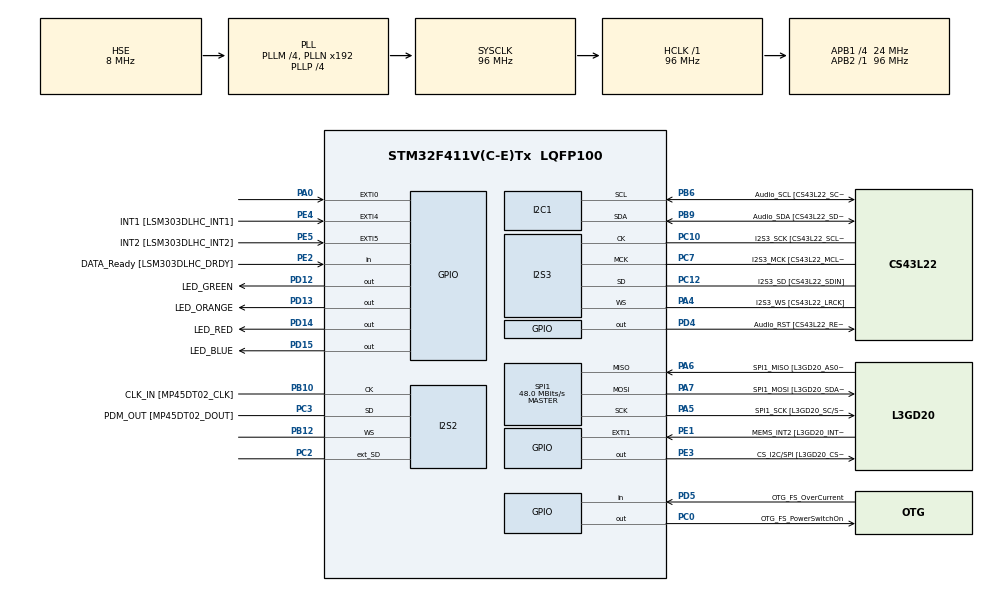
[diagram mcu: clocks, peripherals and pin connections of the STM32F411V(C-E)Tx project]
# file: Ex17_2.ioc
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FREERTOS.BinarySemaphores01=SemaSync1,Dynamic,NULL;SemaSync2,Dynamic,NULL
FREERTOS.INCLUDE_vTaskDelayUntil=1
FREERTOS.Mutexes01=CriticalResourceMutex,Dynamic,NULL
FREERTOS.Tasks01=FlashGreenLed,0,128,StartFlashGreenLedTask,Default,NULL,Dynamic,NULL,NULL;FlashRedLed,0,128,StartFlashRedLedTask,Default,NULL,Dynamic,NULL,NULL;FlashBlueLed,0,128,StartFlashBlueLedTask,Default,NULL,Dynamic,NULL,NULL
FREERTOS.configUSE_NEWLIB_REENTRANT=1
I2S2.AudioFreq=I2S_AUDIOFREQ_96K
I2S2.ErrorAudioFreq=0.15 %
I2S2.FullDuplexMode=I2S_FULLDUPLEXMODE_ENABLE
I2S2.Instance=SPI$Index
I2S2.RealAudioFreq=96.153 KHz
I2S2.VirtualMode=I2S_MODE_MASTER
I2S3.AudioFreq=I2S_AUDIOFREQ_96K
I2S3.ErrorAudioFreq=-6.99 %
I2S3.FullDuplexMode=I2S_FULLDUPLEXMODE_DISABLE
I2S3.Instance=SPI$Index
I2S3.RealAudioFreq=89.285 KHz
I2S3.VirtualMode=I2S_MODE_MASTER
Mcu.Family=STM32F4
Mcu.Name=STM32F411V(C-E)Tx
Mcu.Package=LQFP100
NVIC.PriorityGroup=NVIC_PRIORITYGROUP_4
NVIC.TIM1_UP_TIM10_IRQn=true\:15\:0\:false\:false\:true\:false\:false\:true\:true
NVIC.TimeBase=TIM1_UP_TIM10_IRQn
NVIC.TimeBaseIP=TIM1
PA0-WKUP.GPIO_ModeDefaultEXTI=GPIO_MODE_EVT_RISING
PA0-WKUP.Signal=GPXTI0
PA10.GPIO_Label=OTG_FS_ID
PA10.Signal=USB_OTG_FS_ID
PA11.GPIO_Label=OTG_FS_DM
PA11.Signal=USB_OTG_FS_DM
PA12.GPIO_Label=OTG_FS_DP
PA12.Signal=USB_OTG_FS_DP
PA13.GPIO_Label=SWDIO
PA13.Mode=Serial_Wire
PA13.Signal=SYS_JTMS-SWDIO
PA14.GPIO_Label=SWCLK
PA14.Mode=Serial_Wire
PA14.Signal=SYS_JTCK-SWCLK
PA4.GPIO_Label=I2S3_WS [CS43L22_LRCK]
PA4.GPIO_Mode=GPIO_MODE_AF_PP
PA4.GPIO_PuPd=GPIO_NOPULL
PA4.GPIO_Speed=GPIO_SPEED_FREQ_LOW
PA4.Mode=Half_Duplex_Master
PA4.Signal=I2S3_WS
PA5.GPIO_Label=SPI1_SCK [L3GD20_SC/SPC]
PA5.Mode=Full_Duplex_Master
PA5.Signal=SPI1_SCK
PA6.GPIO_Label=SPI1_MISO [L3GD20_AS0/SDO]
PA6.Mode=Full_Duplex_Master
PA6.Signal=SPI1_MISO
PA7.GPIO_Label=SPI1_MOSI [L3GD20_SDA/SDI/SDO]
PA7.Mode=Full_Duplex_Master
PA7.Signal=SPI1_MOSI
PA9.GPIO_Label=VBUS_FS
PA9.Signal=USB_OTG_FS_VBUS
PB10.GPIO_Label=CLK_IN [MP45DT02_CLK]
PB10.Mode=Full_Duplex_Master
PB10.Signal=I2S2_CK
PB12.Mode=Full_Duplex_Master
PB12.Signal=I2S2_WS
PB3.GPIO_Label=SWO
PB3.Signal=SYS_JTDO-SWO
PB6.GPIO_Label=Audio_SCL [CS43L22_SCL]
PB6.GPIO_Mode=GPIO_MODE_AF_OD
PB6.GPIO_Pu=GPIO_PULLUP
PB6.GPIO_PuPd=GPIO_NOPULL
PB6.GPIO_Speed=GPIO_SPEED_FREQ_LOW
PB6.Mode=I2C
PB6.Signal=I2C1_SCL
PB9.GPIO_Label=Audio_SDA [CS43L22_SDA]
PB9.GPIO_Mode=GPIO_MODE_AF_OD
PB9.GPIO_Pu=GPIO_PULLUP
PB9.GPIO_PuPd=GPIO_NOPULL
PB9.GPIO_Speed=GPIO_SPEED_FREQ_LOW
PB9.Mode=I2C
PB9.Signal=I2C1_SDA
PC0.GPIO_Label=OTG_FS_PowerSwitchOn
PC0.PinState=GPIO_PIN_SET
PC0.Signal=GPIO_Output
PC10.GPIO_Label=I2S3_SCK [CS43L22_SCLK]
PC10.GPIO_Mode=GPIO_MODE_AF_PP
PC10.GPIO_PuPd=GPIO_NOPULL
PC10.GPIO_Speed=GPIO_SPEED_FREQ_LOW
PC10.Mode=Half_Duplex_Master
PC10.Signal=I2S3_CK
PC12.GPIO_Label=I2S3_SD [CS43L22_SDIN]
PC12.GPIO_Mode=GPIO_MODE_AF_PP
PC12.GPIO_PuPd=GPIO_NOPULL
PC12.GPIO_Speed=GPIO_SPEED_FREQ_LOW
PC12.Mode=Half_Duplex_Master
PC12.Signal=I2S3_SD
PC14-OSC32_IN.GPIO_Label=PC14-OSC32_IN
PC14-OSC32_IN.Mode=LSE-External-Oscillator
PC14-OSC32_IN.Signal=RCC_OSC32_IN
PC15-OSC32_OUT.GPIO_Label=PC15-OSC32_OUT
PC15-OSC32_OUT.Mode=LSE-External-Oscillator
PC15-OSC32_OUT.Signal=RCC_OSC32_OUT
PC2.Mode=Full_Duplex_Master
PC2.Signal=I2S2_ext_SD
PC3.GPIO_Label=PDM_OUT [MP45DT02_DOUT]
PC3.Mode=Full_Duplex_Master
PC3.Signal=I2S2_SD
PC7.GPIO_Label=I2S3_MCK [CS43L22_MCLK]
PC7.GPIO_Mode=GPIO_MODE_AF_PP
PC7.GPIO_PuPd=GPIO_NOPULL
PC7.GPIO_Speed=GPIO_SPEED_FREQ_LOW
PC7.Mode=Master_Clock_Activated
PC7.Signal=I2S3_MCK
PD12.GPIO_Label=LED_GREEN
PD12.GPIO_PuPd=GPIO_NOPULL
PD12.GPIO_Speed=GPIO_SPEED_FREQ_LOW
PD12.Signal=GPIO_Output
PD13.GPIO_Label=LED_ORANGE
PD13.GPIO_PuPd=GPIO_NOPULL
PD13.GPIO_Speed=GPIO_SPEED_FREQ_LOW
PD13.Signal=GPIO_Output
PD14.GPIO_Label=LED_RED
PD14.GPIO_PuPd=GPIO_NOPULL
PD14.GPIO_Speed=GPIO_SPEED_FREQ_LOW
PD14.Signal=GPIO_Output
PD15.GPIO_Label=LED_BLUE
PD15.GPIO_PuPd=GPIO_NOPULL
PD15.GPIO_Speed=GPIO_SPEED_FREQ_LOW
PD15.Signal=GPIO_Output
PD4.GPIO_Label=Audio_RST [CS43L22_RESET]
PD4.Signal=GPIO_Output
PD5.GPIO_Label=OTG_FS_OverCurrent
PD5.Signal=GPIO_Input
PE1.GPIO_Label=MEMS_INT2 [L3GD20_INT2]
PE1.GPIO_ModeDefaultEXTI=GPIO_MODE_EVT_RISING
PE1.Signal=GPXTI1
PE2.GPIO_Label=DATA_Ready [LSM303DLHC_DRDY]
PE2.Signal=GPIO_Input
PE3.GPIO_Label=CS_I2C/SPI [L3GD20_CS_I2C/SPI]
PE3.Signal=GPIO_Output
PE4.GPIO_Label=INT1 [LSM303DLHC_INT1]
PE4.GPIO_ModeDefaultEXTI=GPIO_MODE_EVT_RISING
PE4.Signal=GPXTI4
PE5.GPIO_Label=INT2 [LSM303DLHC_INT2]
PE5.GPIO_ModeDefaultEXTI=GPIO_MODE_EVT_RISING
PE5.Signal=GPXTI5
PH0\ -\ OSC_IN.GPIO_Label=PH0-OSC_IN
PH0\ -\ OSC_IN.Mode=HSE-External-Oscillator
PH0\ -\ OSC_IN.Signal=RCC_OSC_IN
PH1\ -\ OSC_OUT.GPIO_Label=PH1-OSC_OUT
PH1\ -\ OSC_OUT.Mode=HSE-External-Oscillator
PH1\ -\ OSC_OUT.Signal=RCC_OSC_OUT
ProjectManager.HeapSize=0x200
ProjectManager.StackSize=0x400
ProjectManager.TargetToolchain=STM32CubeIDE
RCC.48MHZClocksFreq_Value=48000000
RCC.AHBFreq_Value=96000000
RCC.APB1CLKDivider=RCC_HCLK_DIV4
RCC.APB1Freq_Value=24000000
RCC.APB1TimFreq_Value=48000000
RCC.APB2Freq_Value=96000000
RCC.APB2TimFreq_Value=96000000
RCC.CortexFreq_Value=96000000
RCC.HCLKFreq_Value=96000000
RCC.HSE_VALUE=8000000
RCC.HSI_VALUE=16000000
RCC.PLLI2SM=5
RCC.PLLI2SN=200
RCC.PLLM=4
RCC.PLLP=RCC_PLLP_DIV4
RCC.PLLQ=8
RCC.PLLSourceVirtual=RCC_PLLSOURCE_HSE
RCC.SYSCLKFreq_VALUE=96000000
RCC.SYSCLKSource=RCC_SYSCLKSOURCE_PLLCLK
RCC.VCOOutputFreq_Value=384000000
SPI1.BaudRatePrescaler=SPI_BAUDRATEPRESCALER_2
SPI1.CalculateBaudRate=48.0 MBits/s
SPI1.Direction=SPI_DIRECTION_2LINES
SPI1.Mode=SPI_MODE_MASTER
SPI1.VirtualType=VM_MASTER
VP_FREERTOS_VS_CMSIS_V1.Mode=CMSIS_V1
VP_SYS_VS_tim1.Mode=TIM1
board=STM32F411E-DISCO

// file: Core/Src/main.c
/* USER CODE BEGIN Header */
/**
  ******************************************************************************
  * @file           : main.c
  * @brief          : Main program body
  ******************************************************************************
  * @attention
  *
  * Copyright (c) 2024 STMicroelectronics.
  * All rights reserved.
  *
  * This software is licensed under terms that can be found in the LICENSE file
  * in the root directory of this software component.
  * If no LICENSE file comes with this software, it is provided AS-IS.
  *
  ******************************************************************************
  */
/* USER CODE END Header */
#include "main.h"
#include "cmsis_os.h"

/* USER CODE BEGIN PD */
#define WaitForever portMAX_DELAY
#define NoWait 0
#define WaitSignal osSemaphoreWait
#define SendSignal osSemaphoreRelease
#define BlockSignal osSemaphoreWait
/* USER CODE END PD */

I2C_HandleTypeDef hi2c1;

I2S_HandleTypeDef hi2s2;
I2S_HandleTypeDef hi2s3;

SPI_HandleTypeDef hspi1;

osThreadId FlashGreenLedHandle;
osThreadId FlashRedLedHandle;
osThreadId FlashBlueLedHandle;
osMutexId CriticalResourceMutexHandle;
osSemaphoreId SemaSync1Handle;
osSemaphoreId SemaSync2Handle;
osSemaphoreId SemaSync3Handle;

void SystemClock_Config(void);
void PeriphCommonClock_Config(void);
static void MX_GPIO_Init(void);
static void MX_I2C1_Init(void);
static void MX_I2S2_Init(void);
static void MX_I2S3_Init(void);
static void MX_SPI1_Init(void);
void StartFlashGreenLedTask(void const * argument);
void StartFlashRedLedTask(void const * argument);
void StartFlashBlueLedTask(void const * argument);

/* USER CODE BEGIN 0 */
int taskCounter=1;
/* USER CODE END 0 */

int main(void)
{

  /* MCU Configuration--------------------------------------------------------*/

  /* Reset of all peripherals, Initializes the Flash interface and the Systick. */
  HAL_Init();

  /* Configure the system clock */
  SystemClock_Config();

/* Configure the peripherals common clocks */
  PeriphCommonClock_Config();

  /* Initialize all configured peripherals */
  MX_GPIO_Init();
  MX_I2C1_Init();
  MX_I2S2_Init();
  MX_I2S3_Init();
  MX_SPI1_Init();

  /* Create the mutex(es) */
  /* definition and creation of CriticalResourceMutex */
  osMutexDef(CriticalResourceMutex);
  CriticalResourceMutexHandle = osMutexCreate(osMutex(CriticalResourceMutex));

  /* Create the semaphores(s) */
  /* definition and creation of SemaSync1 */
  osSemaphoreDef(SemaSync1);
  SemaSync1Handle = osSemaphoreCreate(osSemaphore(SemaSync1), 1);

  /* definition and creation of SemaSync2 */
  osSemaphoreDef(SemaSync2);
  SemaSync2Handle = osSemaphoreCreate(osSemaphore(SemaSync2), 1);

  /* definition and creation of SemaSync3 */
  osSemaphoreDef(SemaSync3);
  SemaSync3Handle = osSemaphoreCreate(osSemaphore(SemaSync3), 1);

  /* Create the thread(s) */
  /* definition and creation of FlashGreenLed */
  osThreadDef(FlashGreenLed, StartFlashGreenLedTask, osPriorityNormal, 0, 128);
  FlashGreenLedHandle = osThreadCreate(osThread(FlashGreenLed), NULL);

  /* definition and creation of FlashRedLed */
  osThreadDef(FlashRedLed, StartFlashRedLedTask, osPriorityNormal, 0, 128);
  FlashRedLedHandle = osThreadCreate(osThread(FlashRedLed), NULL);

  /* definition and creation of FlashBlueLed */
  osThreadDef(FlashBlueLed, StartFlashBlueLedTask, osPriorityNormal, 0, 128);
  FlashBlueLedHandle = osThreadCreate(osThread(FlashBlueLed), NULL);

  /* Start scheduler */
  osKernelStart();

  /* We should never get here as control is now taken by the scheduler */
  /* Infinite loop */
  while (1)
  {

  }
}

void SystemClock_Config(void)
{
  RCC_OscInitTypeDef RCC_OscInitStruct = {0};
  RCC_ClkInitTypeDef RCC_ClkInitStruct = {0};

  /** Configure the main internal regulator output voltage
  */
  __HAL_RCC_PWR_CLK_ENABLE();
  __HAL_PWR_VOLTAGESCALING_CONFIG(PWR_REGULATOR_VOLTAGE_SCALE1);

  /** Initializes the RCC Oscillators according to the specified parameters
  * in the RCC_OscInitTypeDef structure.
  */
  RCC_OscInitStruct.OscillatorType = RCC_OSCILLATORTYPE_HSE;
  RCC_OscInitStruct.HSEState = RCC_HSE_ON;
  RCC_OscInitStruct.PLL.PLLState = RCC_PLL_ON;
  RCC_OscInitStruct.PLL.PLLSource = RCC_PLLSOURCE_HSE;
  RCC_OscInitStruct.PLL.PLLM = 4;
  RCC_OscInitStruct.PLL.PLLN = 192;
  RCC_OscInitStruct.PLL.PLLP = RCC_PLLP_DIV4;
  RCC_OscInitStruct.PLL.PLLQ = 8;
  if (HAL_RCC_OscConfig(&RCC_OscInitStruct) != HAL_OK)
  {
    Error_Handler();
  }

  /** Initializes the CPU, AHB and APB buses clocks
  */
  RCC_ClkInitStruct.ClockType = RCC_CLOCKTYPE_HCLK|RCC_CLOCKTYPE_SYSCLK
                              |RCC_CLOCKTYPE_PCLK1|RCC_CLOCKTYPE_PCLK2;
  RCC_ClkInitStruct.SYSCLKSource = RCC_SYSCLKSOURCE_PLLCLK;
  RCC_ClkInitStruct.AHBCLKDivider = RCC_SYSCLK_DIV1;
  RCC_ClkInitStruct.APB1CLKDivider = RCC_HCLK_DIV4;
  RCC_ClkInitStruct.APB2CLKDivider = RCC_HCLK_DIV1;

  if (HAL_RCC_ClockConfig(&RCC_ClkInitStruct, FLASH_LATENCY_3) != HAL_OK)
  {
    Error_Handler();
  }
}

void PeriphCommonClock_Config(void)
{
  RCC_PeriphCLKInitTypeDef PeriphClkInitStruct = {0};

  /** Initializes the peripherals clock
  */
  PeriphClkInitStruct.PeriphClockSelection = RCC_PERIPHCLK_I2S;
  PeriphClkInitStruct.PLLI2S.PLLI2SN = 200;
  PeriphClkInitStruct.PLLI2S.PLLI2SM = 5;
  PeriphClkInitStruct.PLLI2S.PLLI2SR = 2;
  if (HAL_RCCEx_PeriphCLKConfig(&PeriphClkInitStruct) != HAL_OK)
  {
    Error_Handler();
  }
}

static void MX_I2C1_Init(void)
{

  hi2c1.Instance = I2C1;
  hi2c1.Init.ClockSpeed = 100000;
  hi2c1.Init.DutyCycle = I2C_DUTYCYCLE_2;
  hi2c1.Init.OwnAddress1 = 0;
  hi2c1.Init.AddressingMode = I2C_ADDRESSINGMODE_7BIT;
  hi2c1.Init.DualAddressMode = I2C_DUALADDRESS_DISABLE;
  hi2c1.Init.OwnAddress2 = 0;
  hi2c1.Init.GeneralCallMode = I2C_GENERALCALL_DISABLE;
  hi2c1.Init.NoStretchMode = I2C_NOSTRETCH_DISABLE;
  if (HAL_I2C_Init(&hi2c1) != HAL_OK)
  {
    Error_Handler();
  }

}

static void MX_I2S2_Init(void)
{

  hi2s2.Instance = SPI2;
  hi2s2.Init.Mode = I2S_MODE_MASTER_TX;
  hi2s2.Init.Standard = I2S_STANDARD_PHILIPS;
  hi2s2.Init.DataFormat = I2S_DATAFORMAT_16B;
  hi2s2.Init.MCLKOutput = I2S_MCLKOUTPUT_DISABLE;
  hi2s2.Init.AudioFreq = I2S_AUDIOFREQ_96K;
  hi2s2.Init.CPOL = I2S_CPOL_LOW;
  hi2s2.Init.ClockSource = I2S_CLOCK_PLL;
  hi2s2.Init.FullDuplexMode = I2S_FULLDUPLEXMODE_ENABLE;
  if (HAL_I2S_Init(&hi2s2) != HAL_OK)
  {
    Error_Handler();
  }

}

static void MX_I2S3_Init(void)
{

  hi2s3.Instance = SPI3;
  hi2s3.Init.Mode = I2S_MODE_MASTER_TX;
  hi2s3.Init.Standard = I2S_STANDARD_PHILIPS;
  hi2s3.Init.DataFormat = I2S_DATAFORMAT_16B;
  hi2s3.Init.MCLKOutput = I2S_MCLKOUTPUT_ENABLE;
  hi2s3.Init.AudioFreq = I2S_AUDIOFREQ_96K;
  hi2s3.Init.CPOL = I2S_CPOL_LOW;
  hi2s3.Init.ClockSource = I2S_CLOCK_PLL;
  hi2s3.Init.FullDuplexMode = I2S_FULLDUPLEXMODE_DISABLE;
  if (HAL_I2S_Init(&hi2s3) != HAL_OK)
  {
    Error_Handler();
  }

}

static void MX_SPI1_Init(void)
{

  /* SPI1 parameter configuration*/
  hspi1.Instance = SPI1;
  hspi1.Init.Mode = SPI_MODE_MASTER;
  hspi1.Init.Direction = SPI_DIRECTION_2LINES;
  hspi1.Init.DataSize = SPI_DATASIZE_8BIT;
  hspi1.Init.CLKPolarity = SPI_POLARITY_LOW;
  hspi1.Init.CLKPhase = SPI_PHASE_1EDGE;
  hspi1.Init.NSS = SPI_NSS_SOFT;
  hspi1.Init.BaudRatePrescaler = SPI_BAUDRATEPRESCALER_2;
  hspi1.Init.FirstBit = SPI_FIRSTBIT_MSB;
  hspi1.Init.TIMode = SPI_TIMODE_DISABLE;
  hspi1.Init.CRCCalculation = SPI_CRCCALCULATION_DISABLE;
  hspi1.Init.CRCPolynomial = 10;
  if (HAL_SPI_Init(&hspi1) != HAL_OK)
  {
    Error_Handler();
  }

}

static void MX_GPIO_Init(void)
{
  GPIO_InitTypeDef GPIO_InitStruct = {0};

  /* GPIO Ports Clock Enable */
  __HAL_RCC_GPIOE_CLK_ENABLE();
  __HAL_RCC_GPIOC_CLK_ENABLE();
  __HAL_RCC_GPIOH_CLK_ENABLE();
  __HAL_RCC_GPIOA_CLK_ENABLE();
  __HAL_RCC_GPIOB_CLK_ENABLE();
  __HAL_RCC_GPIOD_CLK_ENABLE();

  /*Configure GPIO pin Output Level */
  HAL_GPIO_WritePin(CS_I2C_SPI_GPIO_Port, CS_I2C_SPI_Pin, GPIO_PIN_RESET);

  /*Configure GPIO pin Output Level */
  HAL_GPIO_WritePin(OTG_FS_PowerSwitchOn_GPIO_Port, OTG_FS_PowerSwitchOn_Pin, GPIO_PIN_SET);

  /*Configure GPIO pin Output Level */
  HAL_GPIO_WritePin(GPIOD, LED_GREEN_Pin|LED_ORANGE_Pin|LED_RED_Pin|LED_BLUE_Pin
                          |Audio_RST_Pin, GPIO_PIN_RESET);

  /*Configure GPIO pin : DATA_Ready_Pin */
  GPIO_InitStruct.Pin = DATA_Ready_Pin;
  GPIO_InitStruct.Mode = GPIO_MODE_INPUT;
  GPIO_InitStruct.Pull = GPIO_NOPULL;
  HAL_GPIO_Init(DATA_Ready_GPIO_Port, &GPIO_InitStruct);

  /*Configure GPIO pin : CS_I2C_SPI_Pin */
  GPIO_InitStruct.Pin = CS_I2C_SPI_Pin;
  GPIO_InitStruct.Mode = GPIO_MODE_OUTPUT_PP;
  GPIO_InitStruct.Pull = GPIO_NOPULL;
  GPIO_InitStruct.Speed = GPIO_SPEED_FREQ_LOW;
  HAL_GPIO_Init(CS_I2C_SPI_GPIO_Port, &GPIO_InitStruct);

  /*Configure GPIO pins : INT1_Pin INT2_Pin MEMS_INT2_Pin */
  GPIO_InitStruct.Pin = INT1_Pin|INT2_Pin|MEMS_INT2_Pin;
  GPIO_InitStruct.Mode = GPIO_MODE_EVT_RISING;
  GPIO_InitStruct.Pull = GPIO_NOPULL;
  HAL_GPIO_Init(GPIOE, &GPIO_InitStruct);

  /*Configure GPIO pin : OTG_FS_PowerSwitchOn_Pin */
  GPIO_InitStruct.Pin = OTG_FS_PowerSwitchOn_Pin;
  GPIO_InitStruct.Mode = GPIO_MODE_OUTPUT_PP;
  GPIO_InitStruct.Pull = GPIO_NOPULL;
  GPIO_InitStruct.Speed = GPIO_SPEED_FREQ_LOW;
  HAL_GPIO_Init(OTG_FS_PowerSwitchOn_GPIO_Port, &GPIO_InitStruct);

  /*Configure GPIO pin : PA0 */
  GPIO_InitStruct.Pin = GPIO_PIN_0;
  GPIO_InitStruct.Mode = GPIO_MODE_EVT_RISING;
  GPIO_InitStruct.Pull = GPIO_NOPULL;
  HAL_GPIO_Init(GPIOA, &GPIO_InitStruct);

  /*Configure GPIO pins : LED_GREEN_Pin LED_ORANGE_Pin LED_RED_Pin LED_BLUE_Pin
                           Audio_RST_Pin */
  GPIO_InitStruct.Pin = LED_GREEN_Pin|LED_ORANGE_Pin|LED_RED_Pin|LED_BLUE_Pin
                          |Audio_RST_Pin;
  GPIO_InitStruct.Mode = GPIO_MODE_OUTPUT_PP;
  GPIO_InitStruct.Pull = GPIO_NOPULL;
  GPIO_InitStruct.Speed = GPIO_SPEED_FREQ_LOW;
  HAL_GPIO_Init(GPIOD, &GPIO_InitStruct);

  /*Configure GPIO pin : VBUS_FS_Pin */
  GPIO_InitStruct.Pin = VBUS_FS_Pin;
  GPIO_InitStruct.Mode = GPIO_MODE_INPUT;
  GPIO_InitStruct.Pull = GPIO_NOPULL;
  HAL_GPIO_Init(VBUS_FS_GPIO_Port, &GPIO_InitStruct);

  /*Configure GPIO pins : OTG_FS_ID_Pin OTG_FS_DM_Pin OTG_FS_DP_Pin */
  GPIO_InitStruct.Pin = OTG_FS_ID_Pin|OTG_FS_DM_Pin|OTG_FS_DP_Pin;
  GPIO_InitStruct.Mode = GPIO_MODE_AF_PP;
  GPIO_InitStruct.Pull = GPIO_NOPULL;
  GPIO_InitStruct.Speed = GPIO_SPEED_FREQ_VERY_HIGH;
  GPIO_InitStruct.Alternate = GPIO_AF10_OTG_FS;
  HAL_GPIO_Init(GPIOA, &GPIO_InitStruct);

  /*Configure GPIO pin : OTG_FS_OverCurrent_Pin */
  GPIO_InitStruct.Pin = OTG_FS_OverCurrent_Pin;
  GPIO_InitStruct.Mode = GPIO_MODE_INPUT;
  GPIO_InitStruct.Pull = GPIO_NOPULL;
  HAL_GPIO_Init(OTG_FS_OverCurrent_GPIO_Port, &GPIO_InitStruct);

}

/* USER CODE BEGIN 4 */
void RendezvousBarrier(){
	if(taskCounter == 1)
	{
		++taskCounter;
		WaitSignal(SemaSync1Handle, WaitForever);
	}
	else if(taskCounter == 2){
		++taskCounter;
		WaitSignal(SemaSync2Handle, WaitForever);
	}
	else if(taskCounter == 3){
		SendSignal(SemaSync1Handle);
		SendSignal(SemaSync2Handle);
		taskCounter = 1;
	}
}

void Flash10Hz(uint16_t color,int time)
{
	for(int i=0;i<time*10;i++)
	{
		HAL_GPIO_WritePin(GPIOD, color, GPIO_PIN_SET);
		osDelay(50);
		HAL_GPIO_WritePin(GPIOD, color, GPIO_PIN_RESET);
		osDelay(50);
	}
}

void Flash5Hz(uint16_t color,int time)
{
	for(int i=0;i<time*10;i++)
	{
		HAL_GPIO_WritePin(GPIOD, color, GPIO_PIN_SET);
		osDelay(100);
		HAL_GPIO_WritePin(GPIOD, color, GPIO_PIN_RESET);
		osDelay(100);
	}
}

void Flash1Hz(uint16_t color,int time)
{
	for(int i=0;i<time;i++)
	{
		HAL_GPIO_WritePin(GPIOD, color, GPIO_PIN_SET);
		osDelay(500);
		HAL_GPIO_WritePin(GPIOD, color, GPIO_PIN_RESET);
		osDelay(500);
	}
}
/* USER CODE END 4 */

void StartFlashGreenLedTask(void const * argument)
{
  /* USER CODE BEGIN 5 */
	BlockSignal(SemaSync1Handle, NoWait);
	BlockSignal(SemaSync2Handle, NoWait);
  /* Infinite loop */
  for(;;)
  {
	  Flash10Hz(LED_GREEN_Pin, 12);
	  RendezvousBarrier();

	  Flash1Hz(LED_GREEN_Pin, 20);
	  RendezvousBarrier();

	  Flash5Hz(LED_GREEN_Pin, 8);
	  RendezvousBarrier();
  }
  /* USER CODE END 5 */
}

void StartFlashRedLedTask(void const * argument)
{
  /* USER CODE BEGIN StartFlashRedLedTask */
	BlockSignal(SemaSync1Handle, NoWait);
	BlockSignal(SemaSync2Handle, NoWait);
  /* Infinite loop */
  for(;;)
  {
	  Flash10Hz(LED_RED_Pin, 20);

	  RendezvousBarrier();
	  Flash1Hz(LED_RED_Pin, 8);

	  RendezvousBarrier();
	  Flash5Hz(LED_RED_Pin, 20);

	  RendezvousBarrier();

  }
  /* USER CODE END StartFlashRedLedTask */
}

void StartFlashBlueLedTask(void const * argument)
{
  /* USER CODE BEGIN StartFlashBlueLedTask */
	BlockSignal(SemaSync1Handle, NoWait);
	BlockSignal(SemaSync2Handle, NoWait);
  /* Infinite loop */
  for(;;)
  {
	  Flash10Hz(LED_BLUE_Pin, 8);

	  RendezvousBarrier();
	  Flash1Hz(LED_BLUE_Pin, 12);

	  RendezvousBarrier();
	  Flash5Hz(LED_BLUE_Pin, 12);

	  RendezvousBarrier();
  }
  /* USER CODE END StartFlashBlueLedTask */
}

void HAL_TIM_PeriodElapsedCallback(TIM_HandleTypeDef *htim)
{
  if (htim->Instance == TIM1) {
    HAL_IncTick();
  }
}

void Error_Handler(void)
{
  __disable_irq();
  while (1)
  {
  }
}
